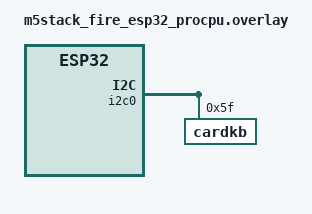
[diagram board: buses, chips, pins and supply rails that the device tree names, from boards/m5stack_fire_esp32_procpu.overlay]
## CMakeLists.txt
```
# Copyright (c) 2026 Lenka Koskova Triskova
#
# SPDX-License-Identifier: Apache-2.0
# https://www.apache.org/licenses/LICENSE-2.0

cmake_minimum_required(VERSION 3.20.0)

find_package(Zephyr REQUIRED HINTS $ENV{ZEPHYR_BASE})
project(keyboard)

target_sources(app PRIVATE src/main.c)
```

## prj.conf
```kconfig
# Copyright (c) 2026 Lenka Koskova Triskova
#
# SPDX-License-Identifier: Apache-2.0
# https://www.apache.org/licenses/LICENSE-2.0

CONFIG_LOG=y
CONFIG_SHELL=y

# CardKB is a plain I2C device with no Zephyr driver (it's a keyboard
# controller, not a generic sensor), so this reads it directly over
# I2C in src/main.c instead of going through CONFIG_SENSOR.
CONFIG_I2C=y

# Sampling thread publishes readings here; the logging thread is just
# one subscriber among however many you add.
CONFIG_ZBUS=y
```

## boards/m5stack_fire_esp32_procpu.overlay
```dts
/*
 * Copyright (c) 2026 Lenka Koskova Triskova
 *
 * SPDX-License-Identifier: Apache-2.0
 * https://www.apache.org/licenses/LICENSE-2.0
 */

/*
 * M5Stack CardKB Mini Keyboard Unit, on Grove Port A (I2C) - SDA=GPIO21,
 * SCL=GPIO22, same I2C bus the onboard MPU6886 (09-gyroscope) is
 * already on. Confirmed against M5Stack's own docs: I2C address 0x5F.
 *
 * Unlike 10-humidity/11-light/12-pir-motion/13-angle, this uses Port A,
 * not Port B - it does not conflict with any of those four.
 *
 * There is no Zephyr driver for this device (it is not a generic
 * sensor, it is a tiny keyboard controller), so it is read directly
 * via the I2C API in src/main.c. Its protocol (per third-party
 * documentation - M5Stack's own docs don't go past the I2C address)
 * is a single plain read with no register address: the returned byte
 * is 0 when no key is pressed, otherwise the ASCII code of the key.
 */

&i2c0 {
	cardkb: cardkb@5f {
		status = "okay";
		reg = <0x5f>;
	};
};

/ {
	aliases {
		cardkb = &cardkb;
	};
};
```

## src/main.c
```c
/*
 * Copyright (c) 2026 Lenka Koskova Triskova
 *
 * SPDX-License-Identifier: Apache-2.0
 * https://www.apache.org/licenses/LICENSE-2.0
 */

#include <zephyr/kernel.h>
#include <zephyr/device.h>
#include <zephyr/devicetree.h>
#include <zephyr/drivers/i2c.h>
#include <zephyr/zbus/zbus.h>
#include <zephyr/logging/log.h>

LOG_MODULE_REGISTER(main);

#define SAMPLE_INTERVAL K_MSEC(50)

struct key_msg {
	uint8_t key;
	bool pressed;
};

/* The channel is shared between the sampling thread (publisher, below)
 * and whoever wants the readings (observers) - here just
 * key_log_sub, but any thread can later subscribe without the
 * sampling thread ever changing. Same template as 09-gyroscope.
 */
ZBUS_CHAN_DEFINE(key_chan,
		 struct key_msg,
		 NULL,
		 NULL,
		 ZBUS_OBSERVERS(key_log_sub),
		 ZBUS_MSG_INIT(0)
);

/* Subscriber, not listener: it gets its own thread and message queue,
 * so a slow or blocking reaction here can never stall the sampling
 * thread - see 09-gyroscope's README for why this is the default for
 * every observer in this course, sensors and actuators alike.
 */
ZBUS_SUBSCRIBER_DEFINE(key_log_sub, 4);

static void key_log_thread(void *p1, void *p2, void *p3)
{
	ARG_UNUSED(p1);
	ARG_UNUSED(p2);
	ARG_UNUSED(p3);

	const struct zbus_channel *chan;

	while (!zbus_sub_wait(&key_log_sub, &chan, K_FOREVER)) {
		struct key_msg msg;

		if (chan != &key_chan) {
			continue;
		}

		zbus_chan_read(&key_chan, &msg, K_MSEC(100));

		if (msg.pressed) {
			if (msg.key >= 0x20 && msg.key < 0x7f) {
				LOG_INF("key: '%c' (0x%02x) pressed", msg.key, msg.key);
			} else {
				LOG_INF("key: 0x%02x pressed", msg.key);
			}
		} else {
			LOG_INF("key: released");
		}
	}
}

#define KEY_LOG_STACK_SIZE 1024
#define KEY_LOG_PRIORITY   5

K_THREAD_DEFINE(key_log_tid, KEY_LOG_STACK_SIZE, key_log_thread,
		 NULL, NULL, NULL, KEY_LOG_PRIORITY, 0, 0);

static void key_sampling_thread(void *p1, void *p2, void *p3)
{
	ARG_UNUSED(p1);
	ARG_UNUSED(p2);
	ARG_UNUSED(p3);

	static const struct i2c_dt_spec kb = I2C_DT_SPEC_GET(DT_ALIAS(cardkb));

	if (!i2c_is_ready_dt(&kb)) {
		LOG_ERR("CardKB I2C device is not ready");
		return;
	}

	bool last_pressed = false;

	while (1) {
		uint8_t byte;

		/* CardKB has no register address to write first - a plain
		 * read returns its current state: 0 if no key is pressed,
		 * otherwise the ASCII code of the key.
		 */
		if (i2c_read_dt(&kb, &byte, sizeof(byte)) < 0) {
			LOG_ERR("CardKB read failed");
			k_sleep(SAMPLE_INTERVAL);
			continue;
		}

		bool pressed = (byte != 0);

		/* Only publish on a change, not every poll - a keypress is
		 * naturally event-shaped, same reasoning as
		 * 12-pir-motion's motion_sampling_thread().
		 */
		if (pressed != last_pressed) {
			struct key_msg msg = {
				.key = byte,
				.pressed = pressed,
			};

			/* Publish and move on - a slow or missing
			 * subscriber never blocks sampling for longer
			 * than this timeout.
			 */
			zbus_chan_pub(&key_chan, &msg, K_MSEC(100));

			last_pressed = pressed;
		}

		k_sleep(SAMPLE_INTERVAL);
	}
}

#define KEY_SAMPLE_STACK_SIZE 1024
#define KEY_SAMPLE_PRIORITY   5

K_THREAD_DEFINE(key_sample_tid, KEY_SAMPLE_STACK_SIZE, key_sampling_thread,
		 NULL, NULL, NULL, KEY_SAMPLE_PRIORITY, 0, 0);

int main(void)
{
	/* Everything happens in the sampling thread and the logging
	 * subscriber, both started above via K_THREAD_DEFINE.
	 */
	return 0;
}
```
